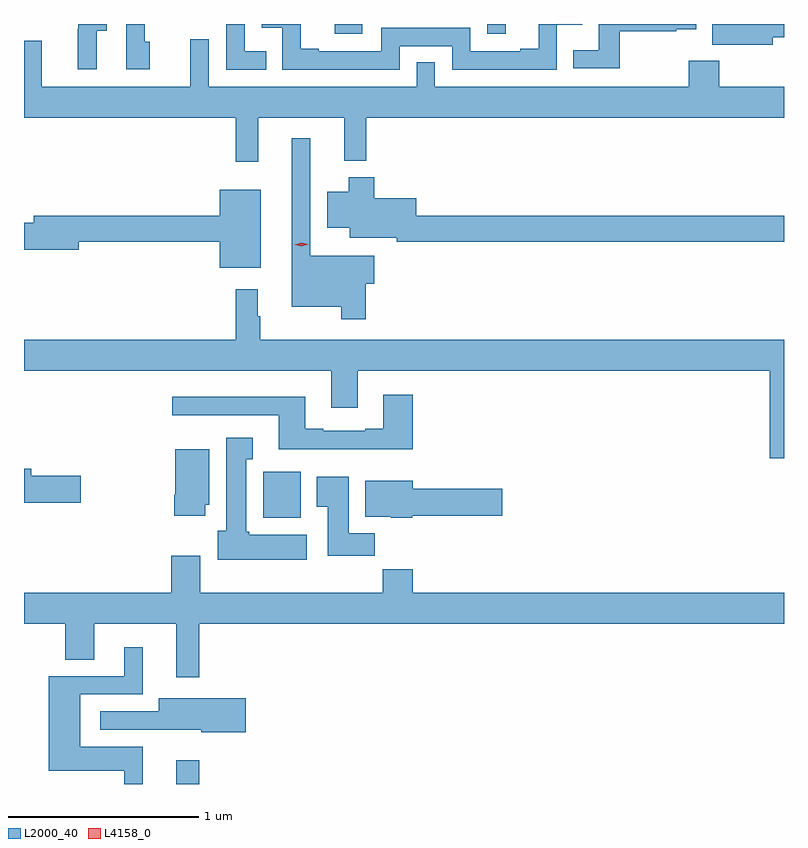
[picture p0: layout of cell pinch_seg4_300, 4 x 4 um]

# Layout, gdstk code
import gdstk
lib = gdstk.Library(unit=1e-6, precision=1e-09)
def R(c, l, rs):  # rectangles x0, y0, x1, y1
    for r in rs: c.add(gdstk.rectangle(r[:2], r[2:], *l))
def P(c, l, *ps):  # polygons
    for p in ps: c.add(gdstk.Polygon(p, *l))
L2000_40 = (2000, 40)
L4158_0 = (4158, 0)

pinch_seg4_300 = lib.new_cell('pinch_seg4_300')
R(pinch_seg4_300, L2000_40, [(948.341,791.981,948.463,792.106), (948.8,793.382,948.997,793.624), (949.177,795.93,949.321,795.981), (949.98,795.93,950.077,795.981)])
P(pinch_seg4_300, L2000_40, [(949.518,795.864),(949.794,795.864),(949.794,795.741),(950.346,795.741),(950.346,795.977),(950.478,795.977),(950.478,795.981),(950.249,795.981),(950.249,795.85),(950.153,795.85),(950.153,795.837),(949.89,795.837),(949.89,795.96),(949.422,795.96),(949.422,795.837),(949.093,795.837),(949.093,795.85),(948.998,795.85),(948.998,795.981),(948.792,795.981),(948.792,795.96),(948.9,795.96),(948.9,795.741),(949.518,795.741)],
  [(950.677,795.942),(950.975,795.942),(950.975,795.953),(951.078,795.953),(951.078,795.981),(950.566,795.981),(950.566,795.844),(950.431,795.844),(950.431,795.747),(950.677,795.747)],
  [(948.815,795.837),(948.702,795.837),(948.702,795.981),(948.606,795.981),(948.606,795.741),(948.815,795.741)],
  [(948.202,795.888),(948.177,795.888),(948.177,795.981),(948.078,795.981),(948.078,795.744),(948.202,795.744)],
  [(947.923,795.946),(947.977,795.946),(947.977,795.981),(947.826,795.981),(947.826,795.957),(947.825,795.957),(947.825,795.744),(947.923,795.744)],
  [(951.481,795.91),(951.541,795.91),(951.541,795.981),(951.163,795.981),(951.163,795.872),(951.481,795.872)],
  [(948.773,795.488),(949.226,795.488),(949.226,795.26),(949.343,795.26),(949.343,795.488),(951.541,795.488),(951.541,795.652),(951.2,795.652),(951.2,795.787),(951.04,795.787),(951.04,795.652),(949.704,795.652),(949.704,795.779),(949.608,795.779),(949.608,795.652),(948.513,795.652),(948.513,795.901),(948.416,795.901),(948.416,795.652),(947.635,795.652),(947.635,795.892),(947.541,795.892),(947.541,795.488),(948.655,795.488),(948.655,795.255),(948.773,795.255)],
  [(949.34,794.614),(949.384,794.614),(949.384,794.761),(949.047,794.761),(949.047,795.379),(948.95,795.379),(948.95,794.492),(949.212,794.492),(949.212,794.427),(949.34,794.427)],
  [(951.541,794.972),(949.606,794.972),(949.606,795.064),(949.385,795.064),(949.385,795.175),(949.25,795.175),(949.25,795.097),(949.136,795.097),(949.136,794.909),(949.256,794.909),(949.256,794.855),(949.502,794.855),(949.502,794.836),(951.541,794.836)],
  [(948.787,795.109),(948.572,795.109),(948.572,794.972),(947.591,794.972),(947.591,794.936),(947.541,794.936),(947.541,794.794),(947.83,794.794),(947.83,794.836),(948.572,794.836),(948.572,794.699),(948.787,794.699)],
  [(951.541,794.32),(948.784,794.32),(948.784,794.444),(948.772,794.444),(948.772,794.584),(948.655,794.584),(948.655,794.32),(947.541,794.32),(947.541,794.156),(949.157,794.156),(949.157,793.962),(949.297,793.962),(949.297,794.156),(951.467,794.156),(951.467,793.695),(951.541,793.695)],
  [(949.586,794.029),(949.433,794.029),(949.433,793.852),(949.337,793.852),(949.337,793.839),(949.117,793.839),(949.117,793.852),(949.021,793.852),(949.021,794.02),(948.321,794.02),(948.321,793.923),(948.881,793.923),(948.881,793.742),(949.586,793.742)],
  [(949.03,793.294),(948.726,793.294),(948.726,793.308),(948.712,793.308),(948.712,793.691),(948.745,793.691),(948.745,793.804),(948.605,793.804),(948.605,793.314),(948.56,793.314),(948.56,793.16),(949.03,793.16)],
  [(948.496,793.452),(948.517,793.452),(948.517,793.744),(948.338,793.744),(948.338,793.504),(948.331,793.504),(948.331,793.392),(948.496,793.392)],
  [(947.839,793.604),(947.578,793.604),(947.578,793.64),(947.541,793.64),(947.541,793.462),(947.839,793.462)],
  [(949.388,793.3),(949.249,793.3),(949.249,793.597),(949.082,793.597),(949.082,793.441),(949.139,793.441),(949.139,793.182),(949.388,793.182)],
  [(949.584,793.393),(950.059,793.393),(950.059,793.535),(949.588,793.535),(949.588,793.576),(949.337,793.576),(949.337,793.388),(949.47,793.388),(949.47,793.382),(949.584,793.382)],
  [(948.463,792.824),(951.541,792.824),(951.541,792.988),(949.586,792.988),(949.586,793.112),(949.429,793.112),(949.429,792.988),(948.469,792.988),(948.469,793.183),(948.317,793.183),(948.317,792.988),(947.541,792.988),(947.541,792.824),(947.759,792.824),(947.759,792.634),(947.911,792.634),(947.911,792.824),(948.341,792.824),(948.341,792.543),(948.463,792.543)],
  [(948.166,792.178),(947.836,792.178),(947.836,792.453),(948.166,792.453),(948.166,792.7),(948.068,792.7),(948.068,792.549),(947.672,792.549),(947.672,792.05),(948.068,792.05),(948.068,791.981),(948.166,791.981)],
  [(948.709,792.432),(948.251,792.432),(948.251,792.363),(947.943,792.363),(947.943,792.267),(948.255,792.267),(948.255,792.266),(948.474,792.266),(948.474,792.254),(948.709,792.254)])
P(pinch_seg4_300, L4158_0, [(949.002,794.81),(948.966,794.818),(948.966,794.818),(948.966,794.818),(949.001,794.83),(949.037,794.823),(949.037,794.822),(949.037,794.822)])

lib.write_gds('pinch_seg4_300.gds')
